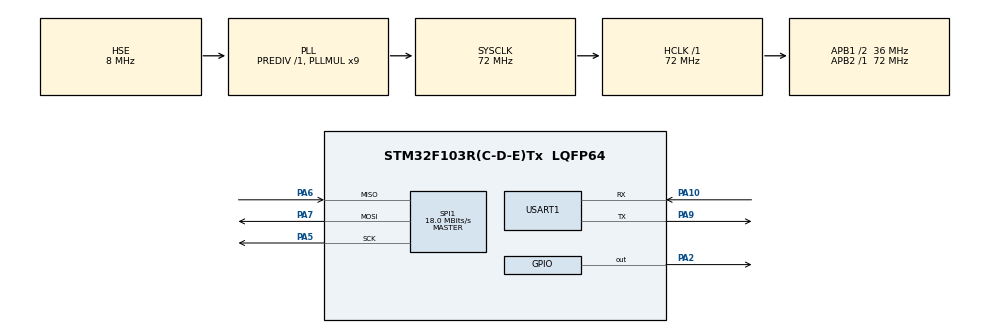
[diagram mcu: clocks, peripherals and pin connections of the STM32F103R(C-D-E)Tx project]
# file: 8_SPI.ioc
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Mcu.Family=STM32F1
Mcu.Name=STM32F103R(C-D-E)Tx
Mcu.Package=LQFP64
NVIC.PriorityGroup=NVIC_PRIORITYGROUP_4
PA10.Mode=Asynchronous
PA10.Signal=USART1_RX
PA13.Mode=Serial_Wire
PA13.Signal=SYS_JTMS-SWDIO
PA14.Mode=Serial_Wire
PA14.Signal=SYS_JTCK-SWCLK
PA2.GPIO_ModeDefaultOutputPP=GPIO_MODE_OUTPUT_PP
PA2.GPIO_PuPd=GPIO_PULLUP
PA2.GPIO_Speed=GPIO_SPEED_FREQ_HIGH
PA2.PinState=GPIO_PIN_SET
PA2.Signal=GPIO_Output
PA5.Mode=Full_Duplex_Master
PA5.Signal=SPI1_SCK
PA6.Mode=Full_Duplex_Master
PA6.Signal=SPI1_MISO
PA7.Mode=Full_Duplex_Master
PA7.Signal=SPI1_MOSI
PA9.Mode=Asynchronous
PA9.Signal=USART1_TX
PC14-OSC32_IN.Mode=LSE-External-Oscillator
PC14-OSC32_IN.Signal=RCC_OSC32_IN
PC15-OSC32_OUT.Mode=LSE-External-Oscillator
PC15-OSC32_OUT.Signal=RCC_OSC32_OUT
PD0-OSC_IN.Mode=HSE-External-Oscillator
PD0-OSC_IN.Signal=RCC_OSC_IN
PD1-OSC_OUT.Mode=HSE-External-Oscillator
PD1-OSC_OUT.Signal=RCC_OSC_OUT
ProjectManager.HeapSize=0x200
ProjectManager.StackSize=0x400
ProjectManager.TargetToolchain=MDK-ARM V5
RCC.AHBFreq_Value=72000000
RCC.APB1CLKDivider=RCC_HCLK_DIV2
RCC.APB1Freq_Value=36000000
RCC.APB1TimFreq_Value=72000000
RCC.APB2Freq_Value=72000000
RCC.APB2TimFreq_Value=72000000
RCC.HCLKFreq_Value=72000000
RCC.PLLMUL=RCC_PLL_MUL9
RCC.PLLSourceVirtual=RCC_PLLSOURCE_HSE
RCC.SYSCLKFreq_VALUE=72000000
RCC.SYSCLKSource=RCC_SYSCLKSOURCE_PLLCLK
RCC.USBFreq_Value=72000000
SPI1.BaudRatePrescaler=SPI_BAUDRATEPRESCALER_4
SPI1.CLKPhase=SPI_PHASE_1EDGE
SPI1.CLKPolarity=SPI_POLARITY_LOW
SPI1.CRCCalculation=SPI_CRCCALCULATION_DISABLE
SPI1.CalculateBaudRate=18.0 MBits/s
SPI1.Direction=SPI_DIRECTION_2LINES
SPI1.Mode=SPI_MODE_MASTER
SPI1.VirtualType=VM_MASTER
USART1.VirtualMode=VM_ASYNC
board=custom

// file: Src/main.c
/* USER CODE BEGIN Header */
/**
  ******************************************************************************
  * @file           : main.c
  * @brief          : Main program body
  ******************************************************************************
  * @attention
  *
  * <h2><center>&copy; Copyright (c) 2021 STMicroelectronics.
  * All rights reserved.</center></h2>
  *
  * This software component is licensed by ST under BSD 3-Clause license,
  * the "License"; You may not use this file except in compliance with the
  * License. You may obtain a copy of the License at:
  *                        opensource.org/licenses/BSD-3-Clause
  *
  ******************************************************************************
  */
/* USER CODE END Header */
#include "main.h"
#include "spi.h"
#include "usart.h"
#include "gpio.h"

void SystemClock_Config(void);

/* USER CODE BEGIN 0 */

#define SPI_NSS_HIGH();  HAL_GPIO_WritePin(GPIOA,GPIO_PIN_2,GPIO_PIN_SET);
#define SPI_NSS_LOW();   HAL_GPIO_WritePin(GPIOA,GPIO_PIN_2,GPIO_PIN_RESET);
#define MY_HSPI          hspi1

/* W25Q64的指令 */
uint8_t w25x_read_id = 0x90;					// 读ID
uint8_t m_addr[3]    = {0,0,0};					// 测试地址0x000000
uint8_t check_addr   = 0x05;					// 检查线路是否繁忙
uint8_t enable_write = 0x06;					// 使能了才能改变芯片数据
uint8_t erase_addr   = 0x20;					// 擦除命令
uint8_t write_addr   = 0x02;					// 写数据命令
uint8_t read_addr    = 0x03;					// 读数据命令

uint8_t temp_ID[5] = {0,0,0,0,0};						// 接收缓存
uint8_t temp_wdata[5] = {0x99,0x88,0x77,0x66,0x55};		// 需要写入的数据
uint8_t temp_rdata[5] = {0,0,0,0,0};					// 读出数据保存的buff
/* 读ID */
void ReadID(void)
{
	SPI_NSS_LOW();	                                        // 使能CS
	HAL_SPI_Transmit(&MY_HSPI, &w25x_read_id, 1, 100);		// 读ID发送指令
	HAL_SPI_Receive(&MY_HSPI, temp_ID, 5, 100);				// 读取ID
	SPI_NSS_HIGH();	                                        // 失能CS
}

/* 检查是否繁忙 */
void CheckBusy(void)
{
	uint8_t status=1;
	uint32_t timeCount=0;
	do
	{
		timeCount++;
		if(timeCount > 0xEFFFFFFF) //等待超时
		{
			return ;
		}

		SPI_NSS_LOW();	                                            // 使能CS
		HAL_SPI_Transmit(&MY_HSPI, &check_addr, 1, 100);			// 发送指令
		HAL_SPI_Receive(&MY_HSPI, &status, 1, 100);				    // 读取
		SPI_NSS_HIGH();                                             // 失能CS
	}while((status&0x01)==0x01);
}

/* 写入数据 */
void WriteData(void)
{
	/* 检查是否繁忙 */
	CheckBusy();

	/* 写使能 */
	SPI_NSS_LOW();	                                        // 使能CS
	HAL_SPI_Transmit(&MY_HSPI, &enable_write, 1, 100);		// 发送指令
	SPI_NSS_HIGH(); 	                                    // 失能CS

	/* 擦除 */
	SPI_NSS_LOW();	                                        // 使能CS
	HAL_SPI_Transmit(&MY_HSPI, &erase_addr, 1, 100);		// 发送指令
	HAL_SPI_Transmit(&MY_HSPI, m_addr, 3, 100);				// 发送地址
	SPI_NSS_HIGH(); 	                                    // 失能CS

	/* 再次检查是否繁忙 */
	CheckBusy();

	/* 写使能 */
	SPI_NSS_LOW();	                                        // 使能CS
	HAL_SPI_Transmit(&MY_HSPI, &enable_write, 1, 100);		// 发送指令
	SPI_NSS_HIGH(); 	                                    // 失能CS

	/* 写数据 */
	SPI_NSS_LOW();	                                        // 使能CS
	HAL_SPI_Transmit(&MY_HSPI, &write_addr, 1, 100);		// 发送指令
	HAL_SPI_Transmit(&MY_HSPI, m_addr, 3, 100);				// 地址
	HAL_SPI_Transmit(&MY_HSPI, temp_wdata, 5, 100);			// 写入数据
	SPI_NSS_HIGH(); 	                                    // 失能CS
}

/* 读取数据 */
void ReadData(void)
{
	/* 检查是否繁忙 */
	CheckBusy();

	/* 开始读数据 */
	SPI_NSS_LOW();	                                        // 使能CS
	HAL_SPI_Transmit(&MY_HSPI, &read_addr, 1, 100);			// 读发送指令
	HAL_SPI_Transmit(&MY_HSPI, m_addr, 3, 100);				// 地址
	HAL_SPI_Receive(&MY_HSPI,  temp_rdata, 5, 100);			// 拿到数据
	SPI_NSS_HIGH(); 	                                    // 失能CS
}
/* USER CODE END 0 */

int main(void)
{

  /* MCU Configuration--------------------------------------------------------*/

  /* Reset of all peripherals, Initializes the Flash interface and the Systick. */
  HAL_Init();

  /* Configure the system clock */
  SystemClock_Config();

  /* Initialize all configured peripherals */
  MX_GPIO_Init();
  MX_SPI1_Init();
  MX_USART1_UART_Init();
  /* USER CODE BEGIN 2 */
	ReadID();
	WriteData();
	ReadData();

  /* USER CODE END 2 */

  /* Infinite loop */
  while (1)
  {

  }
}

void SystemClock_Config(void)
{
  RCC_OscInitTypeDef RCC_OscInitStruct = {0};
  RCC_ClkInitTypeDef RCC_ClkInitStruct = {0};

  /** Initializes the RCC Oscillators according to the specified parameters
  * in the RCC_OscInitTypeDef structure.
  */
  RCC_OscInitStruct.OscillatorType = RCC_OSCILLATORTYPE_HSE;
  RCC_OscInitStruct.HSEState = RCC_HSE_ON;
  RCC_OscInitStruct.HSEPredivValue = RCC_HSE_PREDIV_DIV1;
  RCC_OscInitStruct.HSIState = RCC_HSI_ON;
  RCC_OscInitStruct.PLL.PLLState = RCC_PLL_ON;
  RCC_OscInitStruct.PLL.PLLSource = RCC_PLLSOURCE_HSE;
  RCC_OscInitStruct.PLL.PLLMUL = RCC_PLL_MUL9;
  if (HAL_RCC_OscConfig(&RCC_OscInitStruct) != HAL_OK)
  {
    Error_Handler();
  }
  /** Initializes the CPU, AHB and APB buses clocks
  */
  RCC_ClkInitStruct.ClockType = RCC_CLOCKTYPE_HCLK|RCC_CLOCKTYPE_SYSCLK
                              |RCC_CLOCKTYPE_PCLK1|RCC_CLOCKTYPE_PCLK2;
  RCC_ClkInitStruct.SYSCLKSource = RCC_SYSCLKSOURCE_PLLCLK;
  RCC_ClkInitStruct.AHBCLKDivider = RCC_SYSCLK_DIV1;
  RCC_ClkInitStruct.APB1CLKDivider = RCC_HCLK_DIV2;
  RCC_ClkInitStruct.APB2CLKDivider = RCC_HCLK_DIV1;

  if (HAL_RCC_ClockConfig(&RCC_ClkInitStruct, FLASH_LATENCY_2) != HAL_OK)
  {
    Error_Handler();
  }
}

void Error_Handler(void)
{
}

/************************ (C) COPYRIGHT STMicroelectronics *****END OF FILE****/
